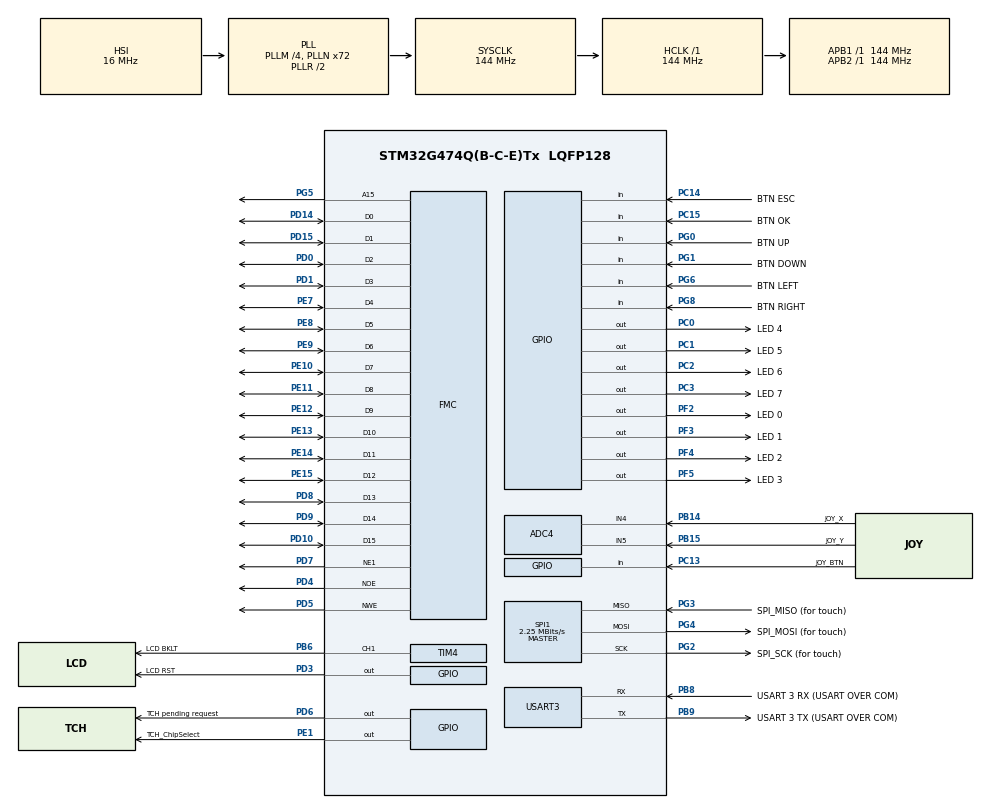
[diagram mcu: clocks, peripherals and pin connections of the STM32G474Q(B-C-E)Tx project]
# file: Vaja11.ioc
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ADC4.Channel-0\#ChannelRegularConversion=ADC_CHANNEL_4
ADC4.Channel-1\#ChannelRegularConversion=ADC_CHANNEL_5
ADC4.DMAContinuousRequests=ENABLE
ADC4.ExternalTrigConv=ADC_EXTERNALTRIG_T1_TRGO
ADC4.NbrOfConversion=2
ADC4.NbrOfConversionFlag=1
ADC4.OffsetNumber-0\#ChannelRegularConversion=ADC_OFFSET_NONE
ADC4.OffsetNumber-1\#ChannelRegularConversion=ADC_OFFSET_NONE
ADC4.Rank-0\#ChannelRegularConversion=1
ADC4.Rank-1\#ChannelRegularConversion=2
ADC4.SamplingTime-0\#ChannelRegularConversion=ADC_SAMPLETIME_640CYCLES_5
ADC4.SamplingTime-1\#ChannelRegularConversion=ADC_SAMPLETIME_640CYCLES_5
Dma.ADC4.0.Direction=DMA_PERIPH_TO_MEMORY
Dma.ADC4.0.EventEnable=DISABLE
Dma.ADC4.0.Instance=DMA1_Channel1
Dma.ADC4.0.MemDataAlignment=DMA_MDATAALIGN_HALFWORD
Dma.ADC4.0.MemInc=DMA_MINC_ENABLE
Dma.ADC4.0.Mode=DMA_CIRCULAR
Dma.ADC4.0.PeriphDataAlignment=DMA_PDATAALIGN_HALFWORD
Dma.ADC4.0.PeriphInc=DMA_PINC_DISABLE
Dma.ADC4.0.Polarity=HAL_DMAMUX_REQ_GEN_RISING
Dma.ADC4.0.Priority=DMA_PRIORITY_LOW
Dma.ADC4.0.RequestNumber=1
Dma.ADC4.0.SignalID=NONE
Dma.ADC4.0.SyncEnable=DISABLE
Dma.ADC4.0.SyncPolarity=HAL_DMAMUX_SYNC_NO_EVENT
Dma.ADC4.0.SyncRequestNumber=1
Dma.ADC4.0.SyncSignalID=NONE
Dma.Request0=ADC4
FMC.AddressSetupTime1=1
FMC.BusTurnAroundDuration1=1
FMC.DataHoldTime1=1
FMC.DataSetupTime1=1
Mcu.Family=STM32G4
Mcu.Name=STM32G474Q(B-C-E)Tx
Mcu.Package=LQFP128
NVIC.DMA1_Channel1_IRQn=true\:0\:0\:false\:false\:true\:false\:true\:true
NVIC.PriorityGroup=NVIC_PRIORITYGROUP_4
NVIC.TIM6_DAC_IRQn=true\:15\:0\:true\:false\:true\:true\:true\:true
NVIC.USART3_IRQn=true\:0\:0\:false\:false\:true\:true\:true\:true
PB14.GPIO_Label=JOY_X
PB14.Mode=IN4-Single-Ended
PB14.Signal=ADC4_IN4
PB15.GPIO_Label=JOY_Y
PB15.Mode=IN5-Single-Ended
PB15.Signal=ADC4_IN5
PB6.GPIO_Label=LCD BKLT
PB6.Signal=S_TIM4_CH1
PB8-BOOT0.GPIO_Label=USART 3 RX (USART OVER COM)
PB8-BOOT0.Mode=Asynchronous
PB8-BOOT0.Signal=USART3_RX
PB9.GPIO_Label=USART 3 TX (USART OVER COM)
PB9.Mode=Asynchronous
PB9.Signal=USART3_TX
PC0.GPIO_Label=LED 4
PC0.GPIO_PuPd=GPIO_NOPULL
PC0.Signal=GPIO_Output
PC1.GPIO_Label=LED 5
PC1.Signal=GPIO_Output
PC13.GPIO_Label=JOY_BTN
PC13.GPIO_PuPd=GPIO_PULLUP
PC13.Signal=GPIO_Input
PC14-OSC32_IN.GPIO_Label=BTN ESC
PC14-OSC32_IN.GPIO_PuPd=GPIO_PULLUP
PC14-OSC32_IN.Signal=GPIO_Input
PC15-OSC32_OUT.GPIO_Label=BTN OK
PC15-OSC32_OUT.GPIO_PuPd=GPIO_PULLUP
PC15-OSC32_OUT.Signal=GPIO_Input
PC2.GPIO_Label=LED 6
PC2.Signal=GPIO_Output
PC3.GPIO_Label=LED 7
PC3.Signal=GPIO_Output
PD0.Signal=FMC_D2_DA2
PD1.Signal=FMC_D3_DA3
PD10.Signal=FMC_D15_DA15
PD14.Signal=FMC_D0_DA0
PD15.Signal=FMC_D1_DA1
PD3.GPIO_Label=LCD RST
PD3.GPIO_ModeDefaultOutputPP=GPIO_MODE_OUTPUT_PP
PD3.Signal=GPIO_Output
PD4.Signal=FMC_NOE
PD5.Signal=FMC_NWE
PD6.GPIO_Label=TCH pending request
PD6.Signal=GPIO_Output
PD7.Mode=NorPsramChipSelect1_1
PD7.Signal=FMC_NE1
PD8.Signal=FMC_D13_DA13
PD9.Signal=FMC_D14_DA14
PE1.GPIO_Label=TCH_ChipSelect
PE1.Signal=GPIO_Output
PE10.Signal=FMC_D7_DA7
PE11.Signal=FMC_D8_DA8
PE12.Signal=FMC_D9_DA9
PE13.Signal=FMC_D10_DA10
PE14.Signal=FMC_D11_DA11
PE15.Signal=FMC_D12_DA12
PE7.Signal=FMC_D4_DA4
PE8.Signal=FMC_D5_DA5
PE9.Signal=FMC_D6_DA6
PF2.GPIO_Label=LED 0
PF2.Signal=GPIO_Output
PF3.GPIO_Label=LED 1
PF3.Signal=GPIO_Output
PF4.GPIO_Label=LED 2
PF4.Signal=GPIO_Output
PF5.GPIO_Label=LED 3
PF5.Signal=GPIO_Output
PG0.GPIO_Label=BTN UP
PG0.GPIO_PuPd=GPIO_PULLUP
PG0.Signal=GPIO_Input
PG1.GPIO_Label=BTN DOWN
PG1.GPIO_PuPd=GPIO_PULLUP
PG1.Signal=GPIO_Input
PG2.GPIO_Label=SPI_SCK (for touch)
PG2.Mode=Full_Duplex_Master
PG2.Signal=SPI1_SCK
PG3.GPIO_Label=SPI_MISO (for touch)
PG3.Mode=Full_Duplex_Master
PG3.Signal=SPI1_MISO
PG4.GPIO_Label=SPI_MOSI (for touch)
PG4.Mode=Full_Duplex_Master
PG4.Signal=SPI1_MOSI
PG5.Signal=FMC_A15
PG6.GPIO_Label=BTN LEFT
PG6.GPIO_PuPd=GPIO_PULLUP
PG6.Signal=GPIO_Input
PG8.GPIO_Label=BTN RIGHT
PG8.GPIO_PuPd=GPIO_PULLUP
PG8.Signal=GPIO_Input
ProjectManager.HeapSize=0x200
ProjectManager.StackSize=0x400
ProjectManager.TargetToolchain=STM32CubeIDE
RCC.ADC12Freq_Value=144000000
RCC.ADC345Freq_Value=144000000
RCC.AHBFreq_Value=144000000
RCC.APB1Freq_Value=144000000
RCC.APB1TimFreq_Value=144000000
RCC.APB2Freq_Value=144000000
RCC.APB2TimFreq_Value=144000000
RCC.CK48CLockSelection=RCC_USBCLKSOURCE_HSI48
RCC.CortexFreq_Value=144000000
RCC.EXTERNAL_CLOCK_VALUE=12288000
RCC.HCLKFreq_Value=144000000
RCC.HSE_VALUE=8000000
RCC.HSI48_VALUE=48000000
RCC.HSI_VALUE=16000000
RCC.LSE_VALUE=32768
RCC.PLLM=RCC_PLLM_DIV4
RCC.PLLN=72
RCC.SYSCLKFreq_VALUE=144000000
RCC.SYSCLKSource=RCC_SYSCLKSOURCE_PLLCLK
RCC.USBFreq_Value=48000000
RCC.VCOOutputFreq_Value=288000000
SH.FMC_A15.0=FMC_A15,A15_1
SH.FMC_D0_DA0.0=FMC_D0,16b-d1
SH.FMC_D10_DA10.0=FMC_D10,16b-d1
SH.FMC_D11_DA11.0=FMC_D11,16b-d1
SH.FMC_D12_DA12.0=FMC_D12,16b-d1
SH.FMC_D13_DA13.0=FMC_D13,16b-d1
SH.FMC_D14_DA14.0=FMC_D14,16b-d1
SH.FMC_D15_DA15.0=FMC_D15,16b-d1
SH.FMC_D1_DA1.0=FMC_D1,16b-d1
SH.FMC_D2_DA2.0=FMC_D2,16b-d1
SH.FMC_D3_DA3.0=FMC_D3,16b-d1
SH.FMC_D4_DA4.0=FMC_D4,16b-d1
SH.FMC_D5_DA5.0=FMC_D5,16b-d1
SH.FMC_D6_DA6.0=FMC_D6,16b-d1
SH.FMC_D7_DA7.0=FMC_D7,16b-d1
SH.FMC_D8_DA8.0=FMC_D8,16b-d1
SH.FMC_D9_DA9.0=FMC_D9,16b-d1
SH.FMC_NOE.0=FMC_NOE,Lcd1
SH.FMC_NWE.0=FMC_NWE,Lcd1
SH.S_TIM4_CH1.0=TIM4_CH1,PWM Generation1 CH1
SPI1.BaudRatePrescaler=SPI_BAUDRATEPRESCALER_64
SPI1.CalculateBaudRate=2.25 MBits/s
SPI1.DataSize=SPI_DATASIZE_8BIT
SPI1.Direction=SPI_DIRECTION_2LINES
SPI1.Mode=SPI_MODE_MASTER
SPI1.NSSPMode=SPI_NSS_PULSE_DISABLE
SPI1.VirtualType=VM_MASTER
TIM1.PeriodNoDither=90
TIM1.Prescaler=14399
TIM1.TIM_MasterOutputTrigger=TIM_TRGO_UPDATE
TIM4.Channel-PWM\ Generation1\ CH1=TIM_CHANNEL_1
TIM4.PeriodNoDither=99
TIM4.Prescaler=14399
TIM6.PeriodNoDither=49999
TIM6.Prescaler=143
USART3.OverrunDisableParam=ADVFEATURE_OVERRUN_DISABLE
USART3.VirtualMode-Asynchronous=VM_ASYNC
VP_SYS_VS_DBSignals.Mode=DisableDeadBatterySignals
VP_TIM1_VS_ClockSourceINT.Mode=Internal
VP_TIM4_VS_ClockSourceINT.Mode=Internal
VP_TIM6_VS_ClockSourceINT.Mode=Enable_Timer
board=custom

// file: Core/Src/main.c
/* USER CODE BEGIN Header */
/**
  ******************************************************************************
  * @file           : main.c
  * @brief          : Main program body
  ******************************************************************************
  * @attention
  *
  * Copyright (c) 2022 STMicroelectronics.
  * All rights reserved.
  *
  * This software is licensed under terms that can be found in the LICENSE file
  * in the root directory of this software component.
  * If no LICENSE file comes with this software, it is provided AS-IS.
  *
  ******************************************************************************
  */
/* USER CODE END Header */
#include "main.h"

/* USER CODE BEGIN Includes */
#include "LED.h"
#include "kbd.h"
#include "buf.h"
#include "SCI.h"
#include "timing_utils.h"
#include "periodic_services.h"
#include "lcd_backlight.h"
#include "lcd.h"
#include "joystick.h"

/* USER CODE END Includes */

ADC_HandleTypeDef hadc4; // & pošleš v init za joystick
DMA_HandleTypeDef hdma_adc4;

SPI_HandleTypeDef hspi1;

TIM_HandleTypeDef htim1;

SRAM_HandleTypeDef hsram1;

void SystemClock_Config(void);
static void MX_GPIO_Init(void);
static void MX_USART3_UART_Init(void);
static void MX_TIM6_Init(void);
static void MX_TIM4_Init(void);
static void MX_FMC_Init(void);
static void MX_DMA_Init(void);
static void MX_ADC4_Init(void);
static void MX_TIM1_Init(void);
static void MX_SPI1_Init(void);

int main(void)
{

  /* MCU Configuration--------------------------------------------------------*/

  /* Reset of all peripherals, Initializes the Flash interface and the Systick. */
  HAL_Init();

  /* Configure the system clock */
  SystemClock_Config();

  /* Initialize all configured peripherals */
  MX_GPIO_Init();
  MX_USART3_UART_Init();
  MX_TIM6_Init();
  MX_TIM4_Init();
  MX_FMC_Init();
  MX_DMA_Init();
  MX_ADC4_Init();
  MX_TIM1_Init();
  MX_SPI1_Init();

  /* Infinite loop */
  /* USER CODE BEGIN WHILE */

/////	INIT FUNCTIONS	 //////////////////////////////////
  LED_init();
  KBD_init();
  SCI_init();
  PSERV_init();
  PSERV_enable(); 	//Zažene periodic services (branje tipkovnice)
  LCD_Init(); 		//Vsebuje tudi init za backlight
  LCD_uGUI_init();
  JOY_init(&hadc4, &htim1);

  //Prvi znak zivljenja
  LCD_uGUI_demo_Misko3(); //To mi deli borut

  LEDs_on(0b10101010);
  HAL_Delay(200);
  LEDs_off(LEDs_read());
  LEDs_on(0b01010101);
  HAL_Delay(200);
  LEDs_off(LEDs_read());
  LEDs_on(0b10101010);
  HAL_Delay(200);
  LEDs_write(0);

/////	DEMO FUNKCIJE 	///////////////////////////

  //LED_demo();

  //SCI_demo_Hello_world();
  /*
  SCI_send_char('B');
  printf("Hello world");
  SCI_demo_Hello_world_printf();
  SCI_demo_echo_with_polling();
  //*/

 // SCI_demo_receive_with_interrupts();
 //SCI_demo_transmit_with_interrupts();
 //SCI_demo_echo_with_interrupts();

  //LCD_BKLT_demo();

  //LCD_demo_simple();

  //TIMUT_stopwatch_demo();
  JOY_calibrate();

  while (1)
  {
	  JOY_LED_demo();

	  HAL_PWR_EnterSLEEPMode(PWR_MAINREGULATOR_ON, PWR_SLEEPENTRY_WFI); //pospravi qC v spanje
	  LCD_TCH_demo();

	 //Ne tipkaj tle not k se ti bo zbrisal!!
    /* USER CODE END WHILE */

  }
}

void SystemClock_Config(void)
{
  RCC_OscInitTypeDef RCC_OscInitStruct = {0};
  RCC_ClkInitTypeDef RCC_ClkInitStruct = {0};

  /** Configure the main internal regulator output voltage
  */
  HAL_PWREx_ControlVoltageScaling(PWR_REGULATOR_VOLTAGE_SCALE1);
  /** Initializes the RCC Oscillators according to the specified parameters
  * in the RCC_OscInitTypeDef structure.
  */
  RCC_OscInitStruct.OscillatorType = RCC_OSCILLATORTYPE_HSI;
  RCC_OscInitStruct.HSIState = RCC_HSI_ON;
  RCC_OscInitStruct.HSICalibrationValue = RCC_HSICALIBRATION_DEFAULT;
  RCC_OscInitStruct.PLL.PLLState = RCC_PLL_ON;
  RCC_OscInitStruct.PLL.PLLSource = RCC_PLLSOURCE_HSI;
  RCC_OscInitStruct.PLL.PLLM = RCC_PLLM_DIV4;
  RCC_OscInitStruct.PLL.PLLN = 72;
  RCC_OscInitStruct.PLL.PLLP = RCC_PLLP_DIV2;
  RCC_OscInitStruct.PLL.PLLQ = RCC_PLLQ_DIV2;
  RCC_OscInitStruct.PLL.PLLR = RCC_PLLR_DIV2;
  if (HAL_RCC_OscConfig(&RCC_OscInitStruct) != HAL_OK)
  {
    Error_Handler();
  }
  /** Initializes the CPU, AHB and APB buses clocks
  */
  RCC_ClkInitStruct.ClockType = RCC_CLOCKTYPE_HCLK|RCC_CLOCKTYPE_SYSCLK
                              |RCC_CLOCKTYPE_PCLK1|RCC_CLOCKTYPE_PCLK2;
  RCC_ClkInitStruct.SYSCLKSource = RCC_SYSCLKSOURCE_PLLCLK;
  RCC_ClkInitStruct.AHBCLKDivider = RCC_SYSCLK_DIV1;
  RCC_ClkInitStruct.APB1CLKDivider = RCC_HCLK_DIV1;
  RCC_ClkInitStruct.APB2CLKDivider = RCC_HCLK_DIV1;

  if (HAL_RCC_ClockConfig(&RCC_ClkInitStruct, FLASH_LATENCY_4) != HAL_OK)
  {
    Error_Handler();
  }
}

static void MX_ADC4_Init(void)
{

  ADC_ChannelConfTypeDef sConfig = {0};

  /** Common config
  */
  hadc4.Instance = ADC4;
  hadc4.Init.ClockPrescaler = ADC_CLOCK_SYNC_PCLK_DIV4;
  hadc4.Init.Resolution = ADC_RESOLUTION_12B;
  hadc4.Init.DataAlign = ADC_DATAALIGN_RIGHT;
  hadc4.Init.GainCompensation = 0;
  hadc4.Init.ScanConvMode = ADC_SCAN_ENABLE;
  hadc4.Init.EOCSelection = ADC_EOC_SINGLE_CONV;
  hadc4.Init.LowPowerAutoWait = DISABLE;
  hadc4.Init.ContinuousConvMode = DISABLE;
  hadc4.Init.NbrOfConversion = 2;
  hadc4.Init.DiscontinuousConvMode = DISABLE;
  hadc4.Init.ExternalTrigConv = ADC_EXTERNALTRIG_T1_TRGO;
  hadc4.Init.ExternalTrigConvEdge = ADC_EXTERNALTRIGCONVEDGE_RISING;
  hadc4.Init.DMAContinuousRequests = ENABLE;
  hadc4.Init.Overrun = ADC_OVR_DATA_PRESERVED;
  hadc4.Init.OversamplingMode = DISABLE;
  if (HAL_ADC_Init(&hadc4) != HAL_OK)
  {
    Error_Handler();
  }
  /** Configure Regular Channel
  */
  sConfig.Channel = ADC_CHANNEL_4;
  sConfig.Rank = ADC_REGULAR_RANK_1;
  sConfig.SamplingTime = ADC_SAMPLETIME_640CYCLES_5;
  sConfig.SingleDiff = ADC_SINGLE_ENDED;
  sConfig.OffsetNumber = ADC_OFFSET_NONE;
  sConfig.Offset = 0;
  if (HAL_ADC_ConfigChannel(&hadc4, &sConfig) != HAL_OK)
  {
    Error_Handler();
  }
  /** Configure Regular Channel
  */
  sConfig.Channel = ADC_CHANNEL_5;
  sConfig.Rank = ADC_REGULAR_RANK_2;
  if (HAL_ADC_ConfigChannel(&hadc4, &sConfig) != HAL_OK)
  {
    Error_Handler();
  }

}

static void MX_SPI1_Init(void)
{

  /* SPI1 parameter configuration*/
  hspi1.Instance = SPI1;
  hspi1.Init.Mode = SPI_MODE_MASTER;
  hspi1.Init.Direction = SPI_DIRECTION_2LINES;
  hspi1.Init.DataSize = SPI_DATASIZE_8BIT;
  hspi1.Init.CLKPolarity = SPI_POLARITY_LOW;
  hspi1.Init.CLKPhase = SPI_PHASE_1EDGE;
  hspi1.Init.NSS = SPI_NSS_SOFT;
  hspi1.Init.BaudRatePrescaler = SPI_BAUDRATEPRESCALER_64;
  hspi1.Init.FirstBit = SPI_FIRSTBIT_MSB;
  hspi1.Init.TIMode = SPI_TIMODE_DISABLE;
  hspi1.Init.CRCCalculation = SPI_CRCCALCULATION_DISABLE;
  hspi1.Init.CRCPolynomial = 7;
  hspi1.Init.CRCLength = SPI_CRC_LENGTH_DATASIZE;
  hspi1.Init.NSSPMode = SPI_NSS_PULSE_DISABLE;
  if (HAL_SPI_Init(&hspi1) != HAL_OK)
  {
    Error_Handler();
  }

}

static void MX_TIM1_Init(void)
{

  TIM_ClockConfigTypeDef sClockSourceConfig = {0};
  TIM_MasterConfigTypeDef sMasterConfig = {0};

  htim1.Instance = TIM1;
  htim1.Init.Prescaler = 14399;
  htim1.Init.CounterMode = TIM_COUNTERMODE_UP;
  htim1.Init.Period = 90;
  htim1.Init.ClockDivision = TIM_CLOCKDIVISION_DIV1;
  htim1.Init.RepetitionCounter = 0;
  htim1.Init.AutoReloadPreload = TIM_AUTORELOAD_PRELOAD_DISABLE;
  if (HAL_TIM_Base_Init(&htim1) != HAL_OK)
  {
    Error_Handler();
  }
  sClockSourceConfig.ClockSource = TIM_CLOCKSOURCE_INTERNAL;
  if (HAL_TIM_ConfigClockSource(&htim1, &sClockSourceConfig) != HAL_OK)
  {
    Error_Handler();
  }
  sMasterConfig.MasterOutputTrigger = TIM_TRGO_UPDATE;
  sMasterConfig.MasterOutputTrigger2 = TIM_TRGO2_RESET;
  sMasterConfig.MasterSlaveMode = TIM_MASTERSLAVEMODE_DISABLE;
  if (HAL_TIMEx_MasterConfigSynchronization(&htim1, &sMasterConfig) != HAL_OK)
  {
    Error_Handler();
  }

}

static void MX_TIM4_Init(void)
{

  LL_TIM_InitTypeDef TIM_InitStruct = {0};
  LL_TIM_OC_InitTypeDef TIM_OC_InitStruct = {0};

  LL_GPIO_InitTypeDef GPIO_InitStruct = {0};

  /* Peripheral clock enable */
  LL_APB1_GRP1_EnableClock(LL_APB1_GRP1_PERIPH_TIM4);

  TIM_InitStruct.Prescaler = 14399;
  TIM_InitStruct.CounterMode = LL_TIM_COUNTERMODE_UP;
  TIM_InitStruct.Autoreload = 99;
  TIM_InitStruct.ClockDivision = LL_TIM_CLOCKDIVISION_DIV1;
  LL_TIM_Init(TIM4, &TIM_InitStruct);
  LL_TIM_DisableARRPreload(TIM4);
  LL_TIM_SetClockSource(TIM4, LL_TIM_CLOCKSOURCE_INTERNAL);
  LL_TIM_OC_EnablePreload(TIM4, LL_TIM_CHANNEL_CH1);
  TIM_OC_InitStruct.OCMode = LL_TIM_OCMODE_PWM1;
  TIM_OC_InitStruct.OCState = LL_TIM_OCSTATE_DISABLE;
  TIM_OC_InitStruct.OCNState = LL_TIM_OCSTATE_DISABLE;
  TIM_OC_InitStruct.CompareValue = 0;
  TIM_OC_InitStruct.OCPolarity = LL_TIM_OCPOLARITY_HIGH;
  LL_TIM_OC_Init(TIM4, LL_TIM_CHANNEL_CH1, &TIM_OC_InitStruct);
  LL_TIM_OC_DisableFast(TIM4, LL_TIM_CHANNEL_CH1);
  LL_TIM_SetTriggerOutput(TIM4, LL_TIM_TRGO_RESET);
  LL_TIM_DisableMasterSlaveMode(TIM4);
  LL_AHB2_GRP1_EnableClock(LL_AHB2_GRP1_PERIPH_GPIOB);
  /**TIM4 GPIO Configuration
  PB6   ------> TIM4_CH1
  */
  GPIO_InitStruct.Pin = LCD_BKLT_Pin;
  GPIO_InitStruct.Mode = LL_GPIO_MODE_ALTERNATE;
  GPIO_InitStruct.Speed = LL_GPIO_SPEED_FREQ_LOW;
  GPIO_InitStruct.OutputType = LL_GPIO_OUTPUT_PUSHPULL;
  GPIO_InitStruct.Pull = LL_GPIO_PULL_NO;
  GPIO_InitStruct.Alternate = LL_GPIO_AF_2;
  LL_GPIO_Init(LCD_BKLT_GPIO_Port, &GPIO_InitStruct);

}

static void MX_TIM6_Init(void)
{

  LL_TIM_InitTypeDef TIM_InitStruct = {0};

  /* Peripheral clock enable */
  LL_APB1_GRP1_EnableClock(LL_APB1_GRP1_PERIPH_TIM6);

  /* TIM6 interrupt Init */
  NVIC_SetPriority(TIM6_DAC_IRQn, NVIC_EncodePriority(NVIC_GetPriorityGrouping(),15, 0));
  NVIC_EnableIRQ(TIM6_DAC_IRQn);

  TIM_InitStruct.Prescaler = 143;
  TIM_InitStruct.CounterMode = LL_TIM_COUNTERMODE_UP;
  TIM_InitStruct.Autoreload = 49999;
  LL_TIM_Init(TIM6, &TIM_InitStruct);
  LL_TIM_DisableARRPreload(TIM6);
  LL_TIM_SetTriggerOutput(TIM6, LL_TIM_TRGO_RESET);
  LL_TIM_DisableMasterSlaveMode(TIM6);

}

static void MX_USART3_UART_Init(void)
{

  LL_USART_InitTypeDef USART_InitStruct = {0};

  LL_GPIO_InitTypeDef GPIO_InitStruct = {0};
  RCC_PeriphCLKInitTypeDef PeriphClkInit = {0};

  /** Initializes the peripherals clocks
  */
  PeriphClkInit.PeriphClockSelection = RCC_PERIPHCLK_USART3;
  PeriphClkInit.Usart3ClockSelection = RCC_USART3CLKSOURCE_PCLK1;
  if (HAL_RCCEx_PeriphCLKConfig(&PeriphClkInit) != HAL_OK)
  {
    Error_Handler();
  }

  /* Peripheral clock enable */
  LL_APB1_GRP1_EnableClock(LL_APB1_GRP1_PERIPH_USART3);

  LL_AHB2_GRP1_EnableClock(LL_AHB2_GRP1_PERIPH_GPIOB);
  /**USART3 GPIO Configuration
  PB8-BOOT0   ------> USART3_RX
  PB9   ------> USART3_TX
  */
  GPIO_InitStruct.Pin = USART_3_RX_Pin;
  GPIO_InitStruct.Mode = LL_GPIO_MODE_ALTERNATE;
  GPIO_InitStruct.Speed = LL_GPIO_SPEED_FREQ_LOW;
  GPIO_InitStruct.OutputType = LL_GPIO_OUTPUT_PUSHPULL;
  GPIO_InitStruct.Pull = LL_GPIO_PULL_NO;
  GPIO_InitStruct.Alternate = LL_GPIO_AF_7;
  LL_GPIO_Init(USART_3_RX_GPIO_Port, &GPIO_InitStruct);

  GPIO_InitStruct.Pin = USART_3_TX_Pin;
  GPIO_InitStruct.Mode = LL_GPIO_MODE_ALTERNATE;
  GPIO_InitStruct.Speed = LL_GPIO_SPEED_FREQ_LOW;
  GPIO_InitStruct.OutputType = LL_GPIO_OUTPUT_PUSHPULL;
  GPIO_InitStruct.Pull = LL_GPIO_PULL_NO;
  GPIO_InitStruct.Alternate = LL_GPIO_AF_7;
  LL_GPIO_Init(USART_3_TX_GPIO_Port, &GPIO_InitStruct);

  /* USART3 interrupt Init */
  NVIC_SetPriority(USART3_IRQn, NVIC_EncodePriority(NVIC_GetPriorityGrouping(),0, 0));
  NVIC_EnableIRQ(USART3_IRQn);

  USART_InitStruct.PrescalerValue = LL_USART_PRESCALER_DIV1;
  USART_InitStruct.BaudRate = 115200;
  USART_InitStruct.DataWidth = LL_USART_DATAWIDTH_8B;
  USART_InitStruct.StopBits = LL_USART_STOPBITS_1;
  USART_InitStruct.Parity = LL_USART_PARITY_NONE;
  USART_InitStruct.TransferDirection = LL_USART_DIRECTION_TX_RX;
  USART_InitStruct.HardwareFlowControl = LL_USART_HWCONTROL_NONE;
  USART_InitStruct.OverSampling = LL_USART_OVERSAMPLING_16;
  LL_USART_Init(USART3, &USART_InitStruct);
  LL_USART_SetTXFIFOThreshold(USART3, LL_USART_FIFOTHRESHOLD_1_8);
  LL_USART_SetRXFIFOThreshold(USART3, LL_USART_FIFOTHRESHOLD_1_8);
  LL_USART_DisableFIFO(USART3);
  LL_USART_DisableOverrunDetect(USART3);
  LL_USART_ConfigAsyncMode(USART3);

  LL_USART_Enable(USART3);

  /* Polling USART3 initialisation */
  while((!(LL_USART_IsActiveFlag_TEACK(USART3))) || (!(LL_USART_IsActiveFlag_REACK(USART3))))
  {
  }

}

static void MX_DMA_Init(void)
{

  /* DMA controller clock enable */
  __HAL_RCC_DMAMUX1_CLK_ENABLE();
  __HAL_RCC_DMA1_CLK_ENABLE();

  /* DMA interrupt init */
  /* DMA1_Channel1_IRQn interrupt configuration */
  HAL_NVIC_SetPriority(DMA1_Channel1_IRQn, 0, 0);
  HAL_NVIC_EnableIRQ(DMA1_Channel1_IRQn);

}

/* FMC initialization function */
static void MX_FMC_Init(void)
{

  FMC_NORSRAM_TimingTypeDef Timing = {0};

  /** Perform the SRAM1 memory initialization sequence
  */
  hsram1.Instance = FMC_NORSRAM_DEVICE;
  hsram1.Extended = FMC_NORSRAM_EXTENDED_DEVICE;
  /* hsram1.Init */
  hsram1.Init.NSBank = FMC_NORSRAM_BANK1;
  hsram1.Init.DataAddressMux = FMC_DATA_ADDRESS_MUX_DISABLE;
  hsram1.Init.MemoryType = FMC_MEMORY_TYPE_SRAM;
  hsram1.Init.MemoryDataWidth = FMC_NORSRAM_MEM_BUS_WIDTH_16;
  hsram1.Init.BurstAccessMode = FMC_BURST_ACCESS_MODE_DISABLE;
  hsram1.Init.WaitSignalPolarity = FMC_WAIT_SIGNAL_POLARITY_LOW;
  hsram1.Init.WaitSignalActive = FMC_WAIT_TIMING_BEFORE_WS;
  hsram1.Init.WriteOperation = FMC_WRITE_OPERATION_ENABLE;
  hsram1.Init.WaitSignal = FMC_WAIT_SIGNAL_DISABLE;
  hsram1.Init.ExtendedMode = FMC_EXTENDED_MODE_DISABLE;
  hsram1.Init.AsynchronousWait = FMC_ASYNCHRONOUS_WAIT_DISABLE;
  hsram1.Init.WriteBurst = FMC_WRITE_BURST_DISABLE;
  hsram1.Init.ContinuousClock = FMC_CONTINUOUS_CLOCK_SYNC_ONLY;
  hsram1.Init.WriteFifo = FMC_WRITE_FIFO_ENABLE;
  hsram1.Init.NBLSetupTime = 0;
  hsram1.Init.PageSize = FMC_PAGE_SIZE_NONE;
  hsram1.Init.MaxChipSelectPulse = DISABLE;
  /* Timing */
  Timing.AddressSetupTime = 1;
  Timing.AddressHoldTime = 15;
  Timing.DataSetupTime = 1;
  Timing.DataHoldTime = 1;
  Timing.BusTurnAroundDuration = 1;
  Timing.CLKDivision = 16;
  Timing.DataLatency = 17;
  Timing.AccessMode = FMC_ACCESS_MODE_A;
  /* ExtTiming */

  if (HAL_SRAM_Init(&hsram1, &Timing, NULL) != HAL_OK)
  {
    Error_Handler( );
  }

}

static void MX_GPIO_Init(void)
{
  LL_GPIO_InitTypeDef GPIO_InitStruct = {0};

  /* GPIO Ports Clock Enable */
  LL_AHB2_GRP1_EnableClock(LL_AHB2_GRP1_PERIPH_GPIOC);
  LL_AHB2_GRP1_EnableClock(LL_AHB2_GRP1_PERIPH_GPIOF);
  LL_AHB2_GRP1_EnableClock(LL_AHB2_GRP1_PERIPH_GPIOE);
  LL_AHB2_GRP1_EnableClock(LL_AHB2_GRP1_PERIPH_GPIOB);
  LL_AHB2_GRP1_EnableClock(LL_AHB2_GRP1_PERIPH_GPIOD);
  LL_AHB2_GRP1_EnableClock(LL_AHB2_GRP1_PERIPH_GPIOG);

  /**/
  LL_GPIO_ResetOutputPin(LED_1_GPIO_Port, LED_1_Pin);

  /**/
  LL_GPIO_ResetOutputPin(LED_2_GPIO_Port, LED_2_Pin);

  /**/
  LL_GPIO_ResetOutputPin(LED_3_GPIO_Port, LED_3_Pin);

  /**/
  LL_GPIO_ResetOutputPin(LED_4_GPIO_Port, LED_4_Pin);

  /**/
  LL_GPIO_ResetOutputPin(LED_5_GPIO_Port, LED_5_Pin);

  /**/
  LL_GPIO_ResetOutputPin(LED_6_GPIO_Port, LED_6_Pin);

  /**/
  LL_GPIO_ResetOutputPin(LED_7_GPIO_Port, LED_7_Pin);

  /**/
  LL_GPIO_ResetOutputPin(LED_0_GPIO_Port, LED_0_Pin);

  /**/
  LL_GPIO_ResetOutputPin(LCD_RST_GPIO_Port, LCD_RST_Pin);

  /**/
  LL_GPIO_ResetOutputPin(TCH_pending_request_GPIO_Port, TCH_pending_request_Pin);

  /**/
  LL_GPIO_ResetOutputPin(TCH_ChipSelect_GPIO_Port, TCH_ChipSelect_Pin);

  /**/
  GPIO_InitStruct.Pin = JOY_BTN_Pin;
  GPIO_InitStruct.Mode = LL_GPIO_MODE_INPUT;
  GPIO_InitStruct.Pull = LL_GPIO_PULL_UP;
  LL_GPIO_Init(JOY_BTN_GPIO_Port, &GPIO_InitStruct);

  /**/
  GPIO_InitStruct.Pin = BTN_ESC_Pin;
  GPIO_InitStruct.Mode = LL_GPIO_MODE_INPUT;
  GPIO_InitStruct.Pull = LL_GPIO_PULL_UP;
  LL_GPIO_Init(BTN_ESC_GPIO_Port, &GPIO_InitStruct);

  /**/
  GPIO_InitStruct.Pin = BTN_OK_Pin;
  GPIO_InitStruct.Mode = LL_GPIO_MODE_INPUT;
  GPIO_InitStruct.Pull = LL_GPIO_PULL_UP;
  LL_GPIO_Init(BTN_OK_GPIO_Port, &GPIO_InitStruct);

  /**/
  GPIO_InitStruct.Pin = LED_1_Pin;
  GPIO_InitStruct.Mode = LL_GPIO_MODE_OUTPUT;
  GPIO_InitStruct.Speed = LL_GPIO_SPEED_FREQ_LOW;
  GPIO_InitStruct.OutputType = LL_GPIO_OUTPUT_PUSHPULL;
  GPIO_InitStruct.Pull = LL_GPIO_PULL_NO;
  LL_GPIO_Init(LED_1_GPIO_Port, &GPIO_InitStruct);

  /**/
  GPIO_InitStruct.Pin = LED_2_Pin;
  GPIO_InitStruct.Mode = LL_GPIO_MODE_OUTPUT;
  GPIO_InitStruct.Speed = LL_GPIO_SPEED_FREQ_LOW;
  GPIO_InitStruct.OutputType = LL_GPIO_OUTPUT_PUSHPULL;
  GPIO_InitStruct.Pull = LL_GPIO_PULL_NO;
  LL_GPIO_Init(LED_2_GPIO_Port, &GPIO_InitStruct);

  /**/
  GPIO_InitStruct.Pin = LED_3_Pin;
  GPIO_InitStruct.Mode = LL_GPIO_MODE_OUTPUT;
  GPIO_InitStruct.Speed = LL_GPIO_SPEED_FREQ_LOW;
  GPIO_InitStruct.OutputType = LL_GPIO_OUTPUT_PUSHPULL;
  GPIO_InitStruct.Pull = LL_GPIO_PULL_NO;
  LL_GPIO_Init(LED_3_GPIO_Port, &GPIO_InitStruct);

  /**/
  GPIO_InitStruct.Pin = LED_4_Pin;
  GPIO_InitStruct.Mode = LL_GPIO_MODE_OUTPUT;
  GPIO_InitStruct.Speed = LL_GPIO_SPEED_FREQ_LOW;
  GPIO_InitStruct.OutputType = LL_GPIO_OUTPUT_PUSHPULL;
  GPIO_InitStruct.Pull = LL_GPIO_PULL_NO;
  LL_GPIO_Init(LED_4_GPIO_Port, &GPIO_InitStruct);

  /**/
  GPIO_InitStruct.Pin = LED_5_Pin;
  GPIO_InitStruct.Mode = LL_GPIO_MODE_OUTPUT;
  GPIO_InitStruct.Speed = LL_GPIO_SPEED_FREQ_LOW;
  GPIO_InitStruct.OutputType = LL_GPIO_OUTPUT_PUSHPULL;
  GPIO_InitStruct.Pull = LL_GPIO_PULL_NO;
  LL_GPIO_Init(LED_5_GPIO_Port, &GPIO_InitStruct);

  /**/
  GPIO_InitStruct.Pin = LED_6_Pin;
  GPIO_InitStruct.Mode = LL_GPIO_MODE_OUTPUT;
  GPIO_InitStruct.Speed = LL_GPIO_SPEED_FREQ_LOW;
  GPIO_InitStruct.OutputType = LL_GPIO_OUTPUT_PUSHPULL;
  GPIO_InitStruct.Pull = LL_GPIO_PULL_NO;
  LL_GPIO_Init(LED_6_GPIO_Port, &GPIO_InitStruct);

  /**/
  GPIO_InitStruct.Pin = LED_7_Pin;
  GPIO_InitStruct.Mode = LL_GPIO_MODE_OUTPUT;
  GPIO_InitStruct.Speed = LL_GPIO_SPEED_FREQ_LOW;
  GPIO_InitStruct.OutputType = LL_GPIO_OUTPUT_PUSHPULL;
  GPIO_InitStruct.Pull = LL_GPIO_PULL_NO;
  LL_GPIO_Init(LED_7_GPIO_Port, &GPIO_InitStruct);

  /**/
  GPIO_InitStruct.Pin = LED_0_Pin;
  GPIO_InitStruct.Mode = LL_GPIO_MODE_OUTPUT;
  GPIO_InitStruct.Speed = LL_GPIO_SPEED_FREQ_LOW;
  GPIO_InitStruct.OutputType = LL_GPIO_OUTPUT_PUSHPULL;
  GPIO_InitStruct.Pull = LL_GPIO_PULL_NO;
  LL_GPIO_Init(LED_0_GPIO_Port, &GPIO_InitStruct);

  /**/
  GPIO_InitStruct.Pin = BTN_UP_Pin;
  GPIO_InitStruct.Mode = LL_GPIO_MODE_INPUT;
  GPIO_InitStruct.Pull = LL_GPIO_PULL_UP;
  LL_GPIO_Init(BTN_UP_GPIO_Port, &GPIO_InitStruct);

  /**/
  GPIO_InitStruct.Pin = BTN_DOWN_Pin;
  GPIO_InitStruct.Mode = LL_GPIO_MODE_INPUT;
  GPIO_InitStruct.Pull = LL_GPIO_PULL_UP;
  LL_GPIO_Init(BTN_DOWN_GPIO_Port, &GPIO_InitStruct);

  /**/
  GPIO_InitStruct.Pin = BTN_LEFT_Pin;
  GPIO_InitStruct.Mode = LL_GPIO_MODE_INPUT;
  GPIO_InitStruct.Pull = LL_GPIO_PULL_UP;
  LL_GPIO_Init(BTN_LEFT_GPIO_Port, &GPIO_InitStruct);

  /**/
  GPIO_InitStruct.Pin = BTN_RIGHT_Pin;
  GPIO_InitStruct.Mode = LL_GPIO_MODE_INPUT;
  GPIO_InitStruct.Pull = LL_GPIO_PULL_UP;
  LL_GPIO_Init(BTN_RIGHT_GPIO_Port, &GPIO_InitStruct);

  /**/
  GPIO_InitStruct.Pin = LCD_RST_Pin;
  GPIO_InitStruct.Mode = LL_GPIO_MODE_OUTPUT;
  GPIO_InitStruct.Speed = LL_GPIO_SPEED_FREQ_LOW;
  GPIO_InitStruct.OutputType = LL_GPIO_OUTPUT_PUSHPULL;
  GPIO_InitStruct.Pull = LL_GPIO_PULL_NO;
  LL_GPIO_Init(LCD_RST_GPIO_Port, &GPIO_InitStruct);

  /**/
  GPIO_InitStruct.Pin = TCH_pending_request_Pin;
  GPIO_InitStruct.Mode = LL_GPIO_MODE_OUTPUT;
  GPIO_InitStruct.Speed = LL_GPIO_SPEED_FREQ_LOW;
  GPIO_InitStruct.OutputType = LL_GPIO_OUTPUT_PUSHPULL;
  GPIO_InitStruct.Pull = LL_GPIO_PULL_NO;
  LL_GPIO_Init(TCH_pending_request_GPIO_Port, &GPIO_InitStruct);

  /**/
  GPIO_InitStruct.Pin = TCH_ChipSelect_Pin;
  GPIO_InitStruct.Mode = LL_GPIO_MODE_OUTPUT;
  GPIO_InitStruct.Speed = LL_GPIO_SPEED_FREQ_LOW;
  GPIO_InitStruct.OutputType = LL_GPIO_OUTPUT_PUSHPULL;
  GPIO_InitStruct.Pull = LL_GPIO_PULL_NO;
  LL_GPIO_Init(TCH_ChipSelect_GPIO_Port, &GPIO_InitStruct);

}

void Error_Handler(void)
{
  __disable_irq();
  while (1)
  {
  }
}
